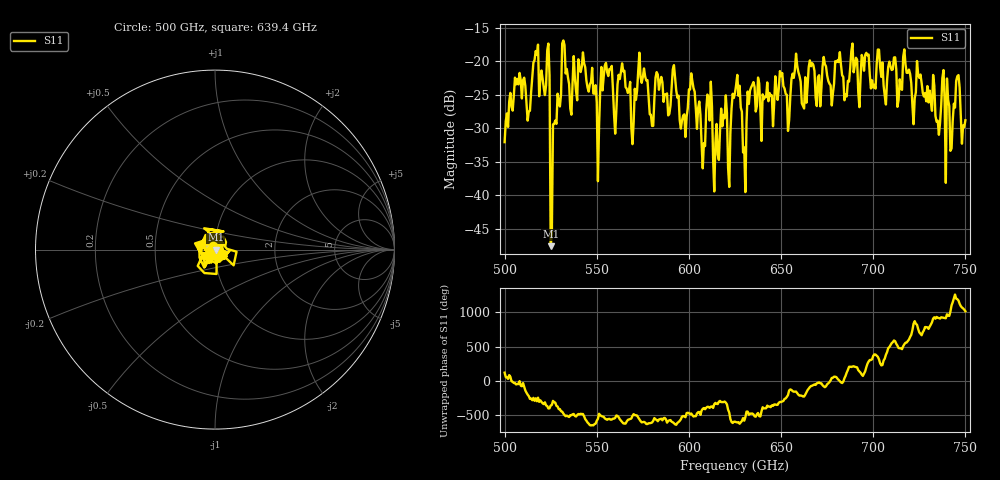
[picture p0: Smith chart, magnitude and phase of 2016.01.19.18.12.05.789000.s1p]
!Created with skrf (http://scikit-rf.org).
# GHz S RI R 50.0
!freq ReS11 ImS11
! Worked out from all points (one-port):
!   401 points, 500 GHz to 750 GHz, reference 50 ohm
!   lowest |S11| = -47.6 dB at 525 GHz (marker M1), VSWR 1.01, Z = 50.4 + j0.0177 ohm
!   |S11| at or under -10 dB: start of sweep to end of sweep
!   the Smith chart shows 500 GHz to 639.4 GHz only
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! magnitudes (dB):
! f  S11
! 500 GHz  -32.1
! 506.9 GHz  -22.6
! 513.1 GHz  -27.5
! 516.9 GHz  -18.5
! 523.1 GHz  -18.4
! 525 GHz  -47.6
! 526.2 GHz  -29.4
! 531.2 GHz  -17.3
! 543.1 GHz  -20.3
! 550 GHz  -26.1
! 562.5 GHz  -22.6
! 570 GHz  -29.1
! 573.8 GHz  -22.3
! 579.4 GHz  -28.0
! 593.8 GHz  -25.4
! 601.9 GHz  -23.0
! 607.5 GHz  -36.0
! 611.2 GHz  -28.8
! 615 GHz  -29.3
! 618.8 GHz  -28.0
! 622.5 GHz  -30.6
! 625 GHz  -24.7
! 630 GHz  -32.8
! 634.4 GHz  -23.5
! 656.2 GHz  -21.8
! 687.5 GHz  -21.0
! 718.8 GHz  -21.7
! 750 GHz  -28.8
